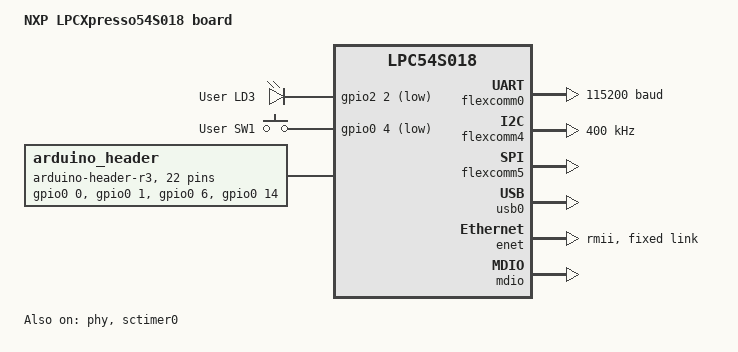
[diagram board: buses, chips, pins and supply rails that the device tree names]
/*
 * Private Porting
 * by David Hor - Xtooltech 2025
 * david.hor@xtooltech.com
 */

#include "lpcxpresso54s018-pinctrl.dtsi"
#include <zephyr/dt-bindings/input/input-event-codes.h>

/ {
	model = "NXP LPCXpresso54S018 board";
	compatible = "nxp,lpc54s018", "nxp,lpc540xx";

	aliases {
		led0 = &red_led;
		led1 = &green_led;
		led2 = &blue_led;
		sw0 = &user_button_1;
		usart-0 = &flexcomm0;
		/* Arduino shield compatibility */
		arduino-i2c = &flexcomm4;
		arduino-spi = &flexcomm5;
		arduino-serial = &flexcomm0;
		/* CAN0 alias will be added when CAN controller is implemented */
	};

	chosen {
		zephyr,sram = &sram0;
		/* zephyr,flash is set in the board dts file */
		zephyr,console = &flexcomm0;
		zephyr,shell-uart = &flexcomm0;
	};

	leds {
		compatible = "gpio-leds";
		/* LPC54S018M LED pins from baremetal project board.h */
		red_led: led_0 {
			gpios = <&gpio3 14 GPIO_ACTIVE_LOW>; /* PIO3_14 - LED1 - Red LED - ACTIVE LOW */
			label = "User LD1";
			status = "disabled";
		};
		green_led: led_1 {
			gpios = <&gpio3 3 GPIO_ACTIVE_LOW>; /* PIO3_3 - LED2 - Green LED - ACTIVE LOW */
			label = "User LD2";
			status = "disabled";
		};
		blue_led: led_2 {
			gpios = <&gpio2 2 GPIO_ACTIVE_LOW>; /* PIO2_2 - LED3 - Blue LED (USER) - ACTIVE LOW */
			label = "User LD3";
			status = "okay";
		};
	};

	gpio_keys {
		compatible = "gpio-keys";
		user_button_1: button_0 {
			label = "User SW1";
			gpios = <&gpio0 4 (GPIO_ACTIVE_LOW | GPIO_PULL_UP)>; /* GPIO0_4 - Actual LPC54S018M SW1 */
			zephyr,code = <INPUT_KEY_0>;
		};
	};

	arduino_header: connector {
		compatible = "arduino-header-r3";
		#gpio-cells = <2>;
		gpio-map-mask = <0xffffffff 0xffffffc0>;
		gpio-map-pass-thru = <0 0x3f>;
		gpio-map = <0 0 &gpio0 0 0>,	/* A0 */
			   <1 0 &gpio0 1 0>,	/* A1 */
			   <2 0 &gpio0 6 0>,	/* A2 */
			   <3 0 &gpio0 14 0>,	/* A3 */
			   <4 0 &gpio0 23 0>,	/* A4 */
			   <5 0 &gpio0 16 0>,	/* A5 */
			   <6 0 &gpio1 3 0>,	/* D0 */
			   <7 0 &gpio0 2 0>,	/* D1 */
			   <8 0 &gpio1 15 0>,	/* D2 */
			   <9 0 &gpio1 6 0>,	/* D3 */
			   <10 0 &gpio1 7 0>,	/* D4 */
			   <11 0 &gpio1 4 0>,	/* D5 */
			   <12 0 &gpio1 10 0>,	/* D6 */
			   <13 0 &gpio1 9 0>,	/* D7 */
			   <14 0 &gpio1 8 0>,	/* D8 */
			   <15 0 &gpio1 5 0>,	/* D9 */
			   <16 0 &gpio1 1 0>,	/* D10 */
			   <17 0 &gpio0 7 0>,	/* D11 */
			   <18 0 &gpio1 2 0>,	/* D12 */
			   <19 0 &gpio1 0 0>,	/* D13 */
			   <20 0 &gpio0 25 0>,	/* D14 */
			   <21 0 &gpio0 26 0>;	/* D15 */
	};
};

&flexcomm0 {
	compatible = "nxp,lpc-usart";
	status = "okay";
	current-speed = <115200>;
	pinctrl-0 = <&pinmux_flexcomm0_uart>;
	pinctrl-names = "default";
};

&flexcomm4 {
	compatible = "nxp,lpc-i2c";
	status = "okay";
	clock-frequency = <I2C_BITRATE_FAST>;
	#address-cells = <1>;
	#size-cells = <0>;
	pinctrl-0 = <&pinmux_flexcomm4_i2c>;
	pinctrl-names = "default";
};

&flexcomm5 {
	compatible = "nxp,lpc-spi";
	status = "okay";
	#address-cells = <1>;
	#size-cells = <0>;
	pinctrl-0 = <&pinmux_flexcomm5_spi>;
	pinctrl-names = "default";
};

&gpio0 {
	status = "okay";
};

&gpio1 {
	status = "okay";
};

&gpio2 {
	status = "okay";
};

&gpio3 {
	status = "okay";
};

/* USB0 configuration */
&usb0 {
	status = "okay";
};

/* CDC ECM Ethernet over USB */
/ {
	cdc_ecm_eth0: cdc_ecm_eth0 {
		compatible = "zephyr,cdc-ecm-ethernet";
		status = "okay";
		remote-mac-address = "00005E005300";
	};
};

/* Ethernet controller */
&enet {
	status = "okay";
	pinctrl-0 = <&pinmux_enet_rmii>;
	pinctrl-names = "default";
	phy-connection-type = "rmii";
	fixed-link {
		speed = <100>;
		full-duplex;
	};
};

&mdio {
	status = "okay";
	pinctrl-0 = <&pinmux_enet_mdio>;
	pinctrl-names = "default";
};

/* LAN8720A PHY at address 0 */
&phy {
	status = "okay";
};

/* Enable PWM on SCTimer */
&sctimer0 {
	status = "okay";
	pinctrl-0 = <&pinmux_sctimer_pwm>;
	pinctrl-names = "default";
};

/* SPIFI flash configuration is now in SoC dtsi file */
